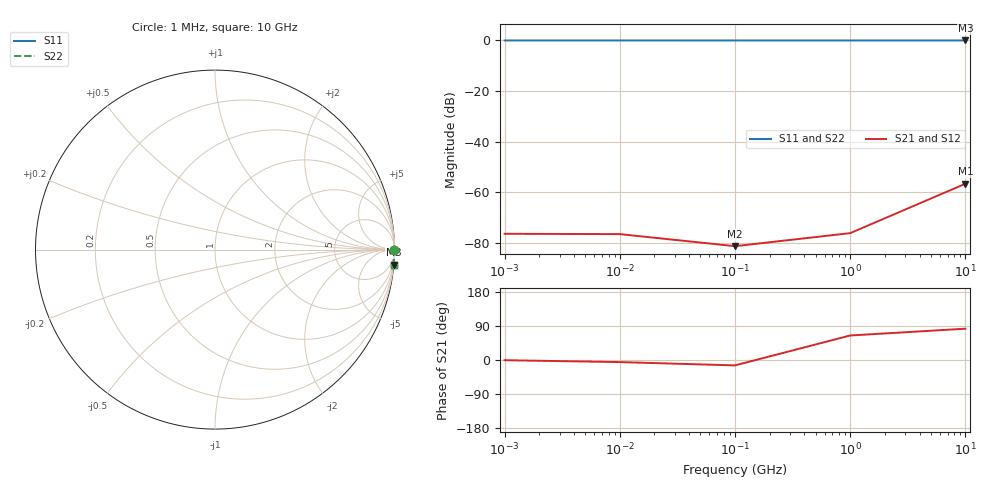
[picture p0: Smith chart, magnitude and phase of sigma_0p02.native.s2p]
! Sonnet Data File
! From: em Version : 18.53-Lite
! From Project: d_sg0.02
! Data is NOT De-embedded
! Data File Written: 10/12/2026 11:27:45
!< HDATE 10/12/2026 11:27:45
!< MDATE 10/12/2026 11:27:45
# GHZ S RI R 50.00000
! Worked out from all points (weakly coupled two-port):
!   5 points, 1 MHz to 10 GHz, reference 50 ohm
!   highest |S21| = -56.56 dB at 10 GHz (marker M1); lowest = -81.2 dB at 100 MHz (marker M2)
!   lowest |S11| = 0.0 dB at 10 GHz (marker M3)
!   |S11| at or under -10 dB: nowhere
!   |S22| runs from 0.0 to 0.0 dB; largest |S21 - S12| = 2.1e-11
0.001  0.9994 -1.55e-05  0.000153 -1.49e-06  0.000153 -1.49e-06  0.9994 -1.55e-05
0.01  0.9994 -0.000154  0.00015 -1.44e-05  0.00015 -1.44e-05  0.9994 -0.000154
0.1  0.9991 -0.00107  8.44e-05 -2.14e-05  8.44e-05 -2.14e-05  0.9991 -0.00107
1  0.9989 -0.00842  6.73e-05 0.000142  6.73e-05 0.000142  0.9989 -0.00842
10  0.9954 -0.0839  0.000191 0.00147  0.000191 0.00147  0.9954 -0.0839
